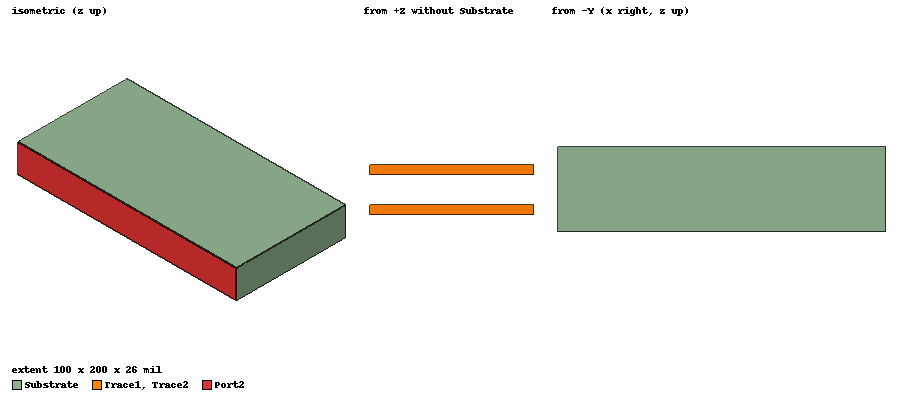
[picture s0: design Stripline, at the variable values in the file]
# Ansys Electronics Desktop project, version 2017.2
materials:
  vacuum: permittivity=1
  copper: permeability=0.999991 conductivity=58000000
  FR4_epoxy: permittivity=4.4 dielectric_loss_tangent=0.02

design Stripline (HFSS, DrivenTerminal, model units mil)
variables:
  W = 6mil
  S = 18mil
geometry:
  Trace1 [copper] = box(corner=(0mil, S/2, -0.35mil), size=(100mil, W, 0.7mil))
  Trace2 [copper] = Trace1.duplicate_mirror(point=(0mil, 0mil, 0mil), normal=(0mil, 1mil, 0mil))
  Substrate [FR4_epoxy] = box(corner=(0mil, -100mil, -13mil), size=(100mil, 200mil, 26mil))
  Port1 = rectangle(corner=(0mil, -100mil, -13mil), y_size=200mil, z_size=26mil)
  Port2 = Port1.duplicate_along_line(step=(100mil, 0mil, 0mil), total=2)
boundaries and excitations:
  Trace1_T1: Terminal port=1 Faces=Trace1.face(-x) TerminalResistance=50ohm
  Trace2_T1: Terminal port=1 Faces=Trace2.face(4 of 6) TerminalResistance=50ohm
  Trace1_T2: Terminal port=2 Faces=Trace1.face(+x) TerminalResistance=50ohm
  Trace2_T2: Terminal port=2 Faces=Trace2.face(6 of 6) TerminalResistance=50ohm
  1: Wave Port Faces=Port1.face(at (0, 0, 0)) NumModes=1
  2: Wave Port Faces=Port2.face NumModes=1 DeembedDist=-900mil
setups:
  Setup1: HfssDriven Frequency=8GHz MaxDeltaS=0.02 MaximumPasses=20 MinimumPasses=1 MinimumConvergedPasses=1 PercentRefinement=30 BasisOrder=1 PortAccuracy=2 RayDensityPerWavelength=4 MaxNumberOfBounces=5 SkipSBRSolveDuringAdaptivePasses
    sweep Sweep: 0GHz to 8GHz step 0.01GHz; Type=Interpolating InterpTolerance=0.5 InterpMaxSolns=250 MinSolvedFreq=0.01GHz PassivityErrorTolerance=0.0001
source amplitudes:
  1:1: 1V 180deg
  1:2, 2:1, 2:2: 0V 0deg
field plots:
  Vector_E1: E Field over Port1.face(at (0, 0, 0)) on Setup1 : LastAdaptive at Freq=8GHz Phase=0deg
  Vector_E2: E Field over Port1.face(at (0, 0, 0)) on Setup1 : LastAdaptive at Freq=8GHz Phase=180deg
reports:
  Terminal S Parameter Plot 1: dB(St(Diff1,Diff1)), dB(St(Diff2,Diff1)) vs Freq on Setup1 : Sweep
  Terminal S Parameter Plot 2: dB(St(Comm1,Comm1)), dB(St(Comm2,Comm1)) vs Freq on Setup1 : Sweep
  Terminal Z Parameter Plot 1: dB20(Zt(Diff1,Diff1)), dB20(Zt(Comm1,Comm1)) vs Freq on Setup1 : Sweep
